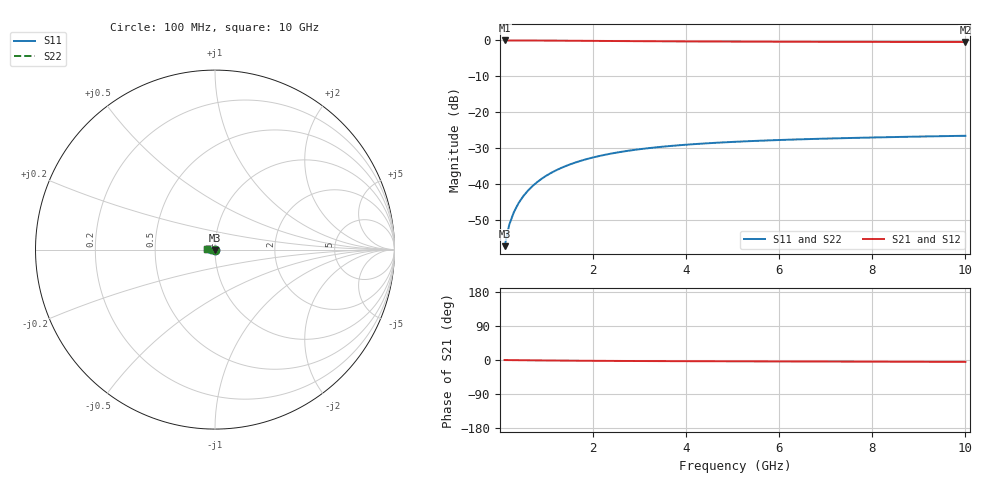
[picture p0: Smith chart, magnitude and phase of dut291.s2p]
! Touchstone file exported from HFSS 2024.1.0
!  File:  C:/UserFiles/LocalFiles/RDL_TSV_Batchsim/temp_TSV1_291_1778770847.aedt
!  Generated:  11:06:28 PM May 14, 2026
!  Design:  TSV1
!  Project:  temp_TSV1_291_1778770847
!  Setup:  Setup1
!  Solution:  Sweep
! Variables:
!  dtsv = 12.19um
!  hbump = 3um
!  htsv = 75.98um
!  lrdl = 252.1521522um
!  p = 40
!  p1 = 57.18um
!  t = 500um
!  trdl = 3um
!  wrdl = 24.89489489um
# GHz S MA R 50.000000
! Terminal data exported
! Port[1] = TSV22_T1
! Port[2] = TSV22_T2
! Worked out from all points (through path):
!   100 points, 100 MHz to 10 GHz, reference 50 ohm
!   highest |S21| = 0.00 dB at 100 MHz (marker M1); lowest = -0.4 dB at 10 GHz (marker M2)
!   lowest |S11| = -57.3 dB at 100 MHz (marker M3), VSWR 1.00, Z = 50 - j0.136 ohm
!   |S11| at or under -10 dB: start of sweep to end of sweep
!   |S22| runs from -57.3 to -26.6 dB; largest |S21 - S12| = 5.1e-15
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0.1  0.00136 -88.0  0.9999 -0.1  0.9999 -0.1  0.00136 -88.0
! Gamma 0 0 0 0
! Port Impedance 50 0 50 0
0.2  0.002715 -91.8  0.9997 -0.3  0.9997 -0.3  0.002715 -91.8
0.3  0.004068 -94.3  0.9995 -0.4  0.9995 -0.4  0.004068 -94.3
0.4  0.005413 -96.6  0.9991 -0.5  0.9991 -0.5  0.005413 -96.6
0.5  0.006747 -98.7  0.9987 -0.6  0.9987 -0.6  0.006747 -98.7
0.6  0.008064 -100.7  0.9982 -0.8  0.9982 -0.8  0.008064 -100.7
0.7  0.009361 -102.8  0.9976 -0.9  0.9976 -0.9  0.009361 -102.8
0.8  0.01063 -104.7  0.997 -1.0  0.997 -1.0  0.01063 -104.7
0.9  0.01188 -106.6  0.9963 -1.1  0.9963 -1.1  0.01188 -106.6
1.1  0.01428 -110.4  0.9947 -1.3  0.9947 -1.3  0.01428 -110.4
1.4  0.01764 -115.7  0.9921 -1.6  0.9921 -1.6  0.01764 -115.7
1.6  0.01971 -119.1  0.9902 -1.8  0.9902 -1.8  0.01971 -119.1
1.8  0.02163 -122.3  0.9883 -2.0  0.9883 -2.0  0.02163 -122.3
2.1  0.02426 -126.8  0.9853 -2.2  0.9853 -2.2  0.02426 -126.8
2.5  0.02732 -132.3  0.9815 -2.5  0.9815 -2.5  0.02732 -132.3
2.9  0.02992 -137.3  0.9779 -2.7  0.9779 -2.7  0.02992 -137.3
3.4  0.03263 -142.8  0.9739 -2.9  0.9739 -2.9  0.03263 -142.8
4.2  0.03601 -150.4  0.9685 -3.2  0.9685 -3.2  0.03601 -150.4
5.1  0.03883 -157.6  0.9638 -3.5  0.9638 -3.5  0.03884 -157.6
6.7  0.04235 -167.8  0.9579 -4.0  0.9579 -4.0  0.04235 -167.8
8.4  0.04499 -176.4  0.954 -4.5  0.954 -4.5  0.04499 -176.4
10  0.04697 176.8  0.9514 -5.0  0.9514 -5.0  0.04697 176.8
